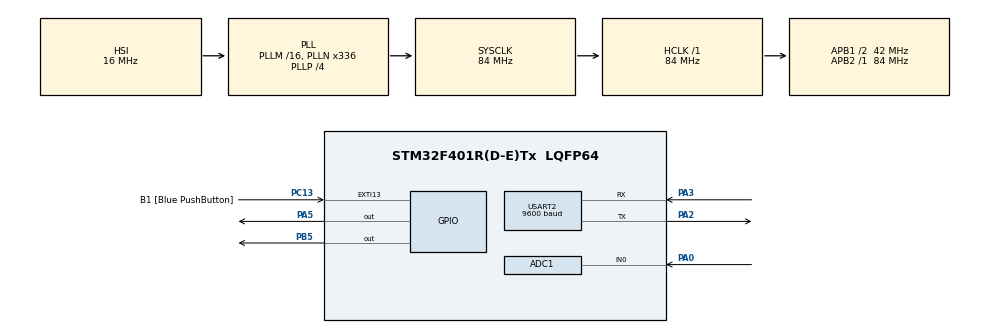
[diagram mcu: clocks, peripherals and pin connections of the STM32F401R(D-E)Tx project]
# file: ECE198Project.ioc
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ADC1.Channel-2\#ChannelRegularConversion=ADC_CHANNEL_0
ADC1.NbrOfConversionFlag=1
ADC1.Rank-2\#ChannelRegularConversion=1
ADC1.SamplingTime-2\#ChannelRegularConversion=ADC_SAMPLETIME_3CYCLES
ADC1.master=1
Mcu.Family=STM32F4
Mcu.Name=STM32F401R(D-E)Tx
Mcu.Package=LQFP64
NVIC.PriorityGroup=NVIC_PRIORITYGROUP_0
PA0-WKUP.Signal=ADCx_IN0
PA13.GPIO_Label=TMS
PA13.Mode=Serial_Wire
PA13.Signal=SYS_JTMS-SWDIO
PA14.GPIO_Label=TCK
PA14.Mode=Serial_Wire
PA14.Signal=SYS_JTCK-SWCLK
PA2.Mode=Asynchronous
PA2.Signal=USART2_TX
PA3.Mode=Asynchronous
PA3.Signal=USART2_RX
PA5.Signal=GPIO_Output
PB3.GPIO_Label=SWO
PB3.Signal=SYS_JTDO-SWO
PB5.GPIO_PuPd=GPIO_NOPULL
PB5.Signal=GPIO_Output
PC13-ANTI_TAMP.GPIO_Label=B1 [Blue PushButton]
PC13-ANTI_TAMP.GPIO_ModeDefaultEXTI=GPIO_MODE_IT_FALLING
PC13-ANTI_TAMP.GPIO_PuPd=GPIO_NOPULL
PC13-ANTI_TAMP.Signal=GPXTI13
PC14-OSC32_IN.Mode=LSE-External-Oscillator
PC14-OSC32_IN.Signal=RCC_OSC32_IN
PC15-OSC32_OUT.Mode=LSE-External-Oscillator
PC15-OSC32_OUT.Signal=RCC_OSC32_OUT
PH0\ -\ OSC_IN.Mode=HSE-External-Clock-Source
PH0\ -\ OSC_IN.Signal=RCC_OSC_IN
PH1\ -\ OSC_OUT.Mode=HSE-External-Clock-Source
PH1\ -\ OSC_OUT.Signal=RCC_OSC_OUT
ProjectManager.HeapSize=0x200
ProjectManager.StackSize=0x400
ProjectManager.TargetToolchain=STM32CubeIDE
RCC.48MHZClocksFreq_Value=48000000
RCC.AHBFreq_Value=84000000
RCC.APB1CLKDivider=RCC_HCLK_DIV2
RCC.APB1Freq_Value=42000000
RCC.APB1TimFreq_Value=84000000
RCC.APB2Freq_Value=84000000
RCC.APB2TimFreq_Value=84000000
RCC.CortexFreq_Value=84000000
RCC.HCLKFreq_Value=84000000
RCC.HSE_VALUE=8000000
RCC.HSI_VALUE=16000000
RCC.PLLN=336
RCC.PLLP=RCC_PLLP_DIV4
RCC.PLLQ=7
RCC.SYSCLKFreq_VALUE=84000000
RCC.SYSCLKSource=RCC_SYSCLKSOURCE_PLLCLK
RCC.VCOOutputFreq_Value=336000000
SH.ADCx_IN0.0=ADC1_IN0,IN0
USART2.BaudRate=9600
USART2.VirtualMode=VM_ASYNC
board=NUCLEO-F401RE

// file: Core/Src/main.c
/* USER CODE BEGIN Header */
/**
  ******************************************************************************
  * @file           : main.c
  * @brief          : Main program body
  ******************************************************************************
  * @attention
  *
  * Copyright (c) 2024 STMicroelectronics.
  * All rights reserved.
  *
  * This software is licensed under terms that can be found in the LICENSE file
  * in the root directory of this software component.
  * If no LICENSE file comes with this software, it is provided AS-IS.
  *
  ******************************************************************************
  */
/* USER CODE END Header */
#include "main.h"

ADC_HandleTypeDef hadc1;

UART_HandleTypeDef huart2;

/* USER CODE BEGIN PV */
char uart_buffer[100];
/* USER CODE END PV */

void SystemClock_Config(void);
static void MX_GPIO_Init(void);
static void MX_ADC1_Init(void);
static void MX_USART2_UART_Init(void);

int main(void)
{

  /* USER CODE BEGIN 1 */

    // Main loop
  /* USER CODE END 1 */

  /* MCU Configuration--------------------------------------------------------*/

  /* Reset of all peripherals, Initializes the Flash interface and the Systick. */
  HAL_Init();

  /* Configure the system clock */
  SystemClock_Config();

  /* Initialize all configured peripherals */
  MX_GPIO_Init();
  MX_ADC1_Init();
  MX_USART2_UART_Init();
  /* USER CODE BEGIN 2 */

  HAL_ADC_Start(&hadc1); // Start the ADC
      uint32_t runningaverage[50] = {0}; // Initialize running average array
      uint32_t runningaveragesum = 0;    // Sum for running average
      uint32_t trueaverage = 0;          // Final calculated average

      // Fill the running average array initially
      for (uint32_t i = 0; i < 50; i++)
      {
          HAL_ADC_PollForConversion(&hadc1, HAL_MAX_DELAY); // Wait for conversion
          uint32_t adc_value = HAL_ADC_GetValue(&hadc1);    // Get ADC value
          runningaverage[i] = adc_value;                   // Populate array
          runningaveragesum += adc_value;                  // Add to sum
      }

  /* USER CODE END 2 */

  /* Infinite loop */
  /* USER CODE BEGIN WHILE */
  while (1)
  {

	  HAL_ADC_PollForConversion(&hadc1, HAL_MAX_DELAY); // Wait for conversion
	  	          uint32_t adc_value = HAL_ADC_GetValue(&hadc1);    // Get ADC value

	  	          // Update running average
	  	          runningaveragesum -= runningaverage[0];           // Subtract oldest value
	  	          for (uint32_t i = 0; i < 49; i++)
	  	          {
	  	              runningaverage[i] = runningaverage[i + 1];    // Shift array left
	  	          }
	  	          runningaverage[49] = adc_value;                  // Add new value
	  	          runningaveragesum += adc_value;                  // Add new value to sum

	  	          // Calculate the true average
	  	          trueaverage = runningaveragesum / 50;

	  	          // Set GPIO based on average
	  	          if (trueaverage < 2800)
	  	          {
	  	              HAL_GPIO_WritePin(GPIOA, GPIO_PIN_5, GPIO_PIN_SET);//adc reading indicates moisture is needed
	  	              HAL_GPIO_WritePin(GPIOB, GPIO_PIN_5, GPIO_PIN_SET);

	  	          }
	  	          else
	  	          {
	  	              HAL_GPIO_WritePin(GPIOA, GPIO_PIN_5, GPIO_PIN_RESET);//moisture no longer needed
	  	              HAL_GPIO_WritePin(GPIOB, GPIO_PIN_5, GPIO_PIN_RESET);
	  	          }

	  	          // Send the ADC value and running average over UART
	  	          snprintf(uart_buffer, sizeof(uart_buffer), "ADC: %lu, Avg: %lu\r\n", adc_value, trueaverage);
	  	          HAL_UART_Transmit(&huart2, (uint8_t *)uart_buffer, strlen(uart_buffer), HAL_MAX_DELAY);

	  	          HAL_Delay(100); // Delay to avoid flooding the serial monitor
    /* USER CODE END WHILE */

  }
}

void SystemClock_Config(void)
{
  RCC_OscInitTypeDef RCC_OscInitStruct = {0};
  RCC_ClkInitTypeDef RCC_ClkInitStruct = {0};

  /** Configure the main internal regulator output voltage
  */
  __HAL_RCC_PWR_CLK_ENABLE();
  __HAL_PWR_VOLTAGESCALING_CONFIG(PWR_REGULATOR_VOLTAGE_SCALE2);

  /** Initializes the RCC Oscillators according to the specified parameters
  * in the RCC_OscInitTypeDef structure.
  */
  RCC_OscInitStruct.OscillatorType = RCC_OSCILLATORTYPE_HSI;
  RCC_OscInitStruct.HSIState = RCC_HSI_ON;
  RCC_OscInitStruct.HSICalibrationValue = RCC_HSICALIBRATION_DEFAULT;
  RCC_OscInitStruct.PLL.PLLState = RCC_PLL_ON;
  RCC_OscInitStruct.PLL.PLLSource = RCC_PLLSOURCE_HSI;
  RCC_OscInitStruct.PLL.PLLM = 16;
  RCC_OscInitStruct.PLL.PLLN = 336;
  RCC_OscInitStruct.PLL.PLLP = RCC_PLLP_DIV4;
  RCC_OscInitStruct.PLL.PLLQ = 7;
  if (HAL_RCC_OscConfig(&RCC_OscInitStruct) != HAL_OK)
  {
    Error_Handler();
  }

  /** Initializes the CPU, AHB and APB buses clocks
  */
  RCC_ClkInitStruct.ClockType = RCC_CLOCKTYPE_HCLK|RCC_CLOCKTYPE_SYSCLK
                              |RCC_CLOCKTYPE_PCLK1|RCC_CLOCKTYPE_PCLK2;
  RCC_ClkInitStruct.SYSCLKSource = RCC_SYSCLKSOURCE_PLLCLK;
  RCC_ClkInitStruct.AHBCLKDivider = RCC_SYSCLK_DIV1;
  RCC_ClkInitStruct.APB1CLKDivider = RCC_HCLK_DIV2;
  RCC_ClkInitStruct.APB2CLKDivider = RCC_HCLK_DIV1;

  if (HAL_RCC_ClockConfig(&RCC_ClkInitStruct, FLASH_LATENCY_2) != HAL_OK)
  {
    Error_Handler();
  }
}

static void MX_ADC1_Init(void)
{

  ADC_ChannelConfTypeDef sConfig = {0};

  /** Configure the global features of the ADC (Clock, Resolution, Data Alignment and number of conversion)
  */
  hadc1.Instance = ADC1;
  hadc1.Init.ClockPrescaler = ADC_CLOCK_SYNC_PCLK_DIV4;
  hadc1.Init.Resolution = ADC_RESOLUTION_12B;
  hadc1.Init.ScanConvMode = DISABLE;
  hadc1.Init.ContinuousConvMode = DISABLE;
  hadc1.Init.DiscontinuousConvMode = DISABLE;
  hadc1.Init.ExternalTrigConvEdge = ADC_EXTERNALTRIGCONVEDGE_NONE;
  hadc1.Init.ExternalTrigConv = ADC_SOFTWARE_START;
  hadc1.Init.DataAlign = ADC_DATAALIGN_RIGHT;
  hadc1.Init.NbrOfConversion = 1;
  hadc1.Init.DMAContinuousRequests = DISABLE;
  hadc1.Init.EOCSelection = ADC_EOC_SINGLE_CONV;
  if (HAL_ADC_Init(&hadc1) != HAL_OK)
  {
    Error_Handler();
  }

  /** Configure for the selected ADC regular channel its corresponding rank in the sequencer and its sample time.
  */
  sConfig.Channel = ADC_CHANNEL_0;
  sConfig.Rank = 1;
  sConfig.SamplingTime = ADC_SAMPLETIME_3CYCLES;
  if (HAL_ADC_ConfigChannel(&hadc1, &sConfig) != HAL_OK)
  {
    Error_Handler();
  }

}

static void MX_USART2_UART_Init(void)
{

  huart2.Instance = USART2;
  huart2.Init.BaudRate = 9600;
  huart2.Init.WordLength = UART_WORDLENGTH_8B;
  huart2.Init.StopBits = UART_STOPBITS_1;
  huart2.Init.Parity = UART_PARITY_NONE;
  huart2.Init.Mode = UART_MODE_TX_RX;
  huart2.Init.HwFlowCtl = UART_HWCONTROL_NONE;
  huart2.Init.OverSampling = UART_OVERSAMPLING_16;
  if (HAL_UART_Init(&huart2) != HAL_OK)
  {
    Error_Handler();
  }

}

static void MX_GPIO_Init(void)
{
  GPIO_InitTypeDef GPIO_InitStruct = {0};

  /* GPIO Ports Clock Enable */
  __HAL_RCC_GPIOC_CLK_ENABLE();
  __HAL_RCC_GPIOH_CLK_ENABLE();
  __HAL_RCC_GPIOA_CLK_ENABLE();
  __HAL_RCC_GPIOB_CLK_ENABLE();

  /*Configure GPIO pin Output Level */
  HAL_GPIO_WritePin(GPIOA, GPIO_PIN_5, GPIO_PIN_RESET);

  /*Configure GPIO pin Output Level */
  HAL_GPIO_WritePin(GPIOB, GPIO_PIN_5, GPIO_PIN_RESET);

  /*Configure GPIO pin : B1_Pin */
  GPIO_InitStruct.Pin = B1_Pin;
  GPIO_InitStruct.Mode = GPIO_MODE_IT_FALLING;
  GPIO_InitStruct.Pull = GPIO_NOPULL;
  HAL_GPIO_Init(B1_GPIO_Port, &GPIO_InitStruct);

  /*Configure GPIO pin : PA5 */
  GPIO_InitStruct.Pin = GPIO_PIN_5;
  GPIO_InitStruct.Mode = GPIO_MODE_OUTPUT_PP;
  GPIO_InitStruct.Pull = GPIO_NOPULL;
  GPIO_InitStruct.Speed = GPIO_SPEED_FREQ_LOW;
  HAL_GPIO_Init(GPIOA, &GPIO_InitStruct);

  /*Configure GPIO pin : PB5 */
  GPIO_InitStruct.Pin = GPIO_PIN_5;
  GPIO_InitStruct.Mode = GPIO_MODE_OUTPUT_PP;
  GPIO_InitStruct.Pull = GPIO_NOPULL;
  GPIO_InitStruct.Speed = GPIO_SPEED_FREQ_LOW;
  HAL_GPIO_Init(GPIOB, &GPIO_InitStruct);

}

void Error_Handler(void)
{
  __disable_irq();
  while (1)
  {
  }
}
